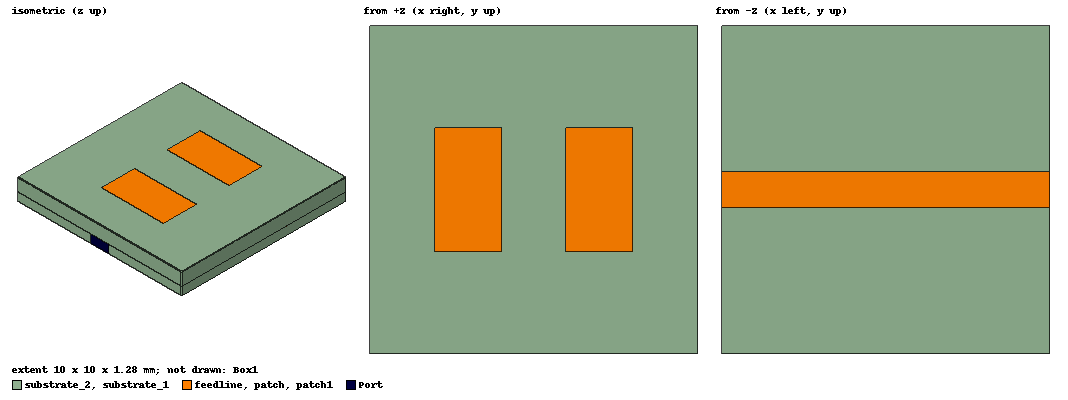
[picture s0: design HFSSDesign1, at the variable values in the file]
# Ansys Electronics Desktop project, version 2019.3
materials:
  vacuum: permittivity=1
  FR4_epoxy: permittivity=4.4 dielectric_loss_tangent=0.02
  Rogers RO4350 (tm): permittivity=3.66 dielectric_loss_tangent=0.004
  air: permittivity=1.0006 permeability=1.0000004

design HFSSDesign1 (HFSS, DrivenModal, model units mm)
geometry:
  feedline = rectangle(corner=(-5mm, (-1.103/2) mm, 0mm), x_size=10mm, y_size=1.103mm)
  substrate_1 [Rogers RO4350 (tm)] = box(corner=(-5mm, -5mm, 0mm), size=(10mm, 10mm, 0.5mm))
  middle_ground = rectangle(corner=(-5mm, -5mm, 0.5mm), x_size=10mm, y_size=10mm)
  substrate_2 [Rogers RO4350 (tm)] = box(corner=(-5mm, -5mm, 0.5mm), size=(10mm, 10mm, 0.78mm))
  patch = rectangle(corner=((-2.02/2-2) mm, (-3.78/2) mm, 1.28mm), x_size=2.02mm, y_size=3.78mm)
  slot = rectangle(corner=((-0.15-2) mm, (-2.4/2) mm, 0.5mm), x_size=0.3mm, y_size=2.4mm)
  middle_ground.subtract(slot)
  Box1 [air] = box(corner=(-10mm, -10mm, -3mm), size=(20mm, 20mm, 6mm))
  Port = rectangle(corner=(5mm, (-1.103/2) mm, 0.5mm), y_size=1.103mm, z_size=-0.5mm)
  patch1 = rectangle(corner=((-2.02/2+2) mm, (-3.78/2) mm, 1.28mm), x_size=2.02mm, y_size=3.78mm)
  slot1 = rectangle(corner=((-0.15+2) mm, (-2.4/2) mm, 0.5mm), x_size=0.3mm, y_size=2.4mm)
  middle_ground.subtract(slot1)
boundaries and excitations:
  Rad1: Radiation Objects=Box1
  PerfE1: Perfect E Objects=[feedline, middle_ground, patch]
  PerfE2: Perfect E Objects=patch1
  1: Lumped Port Objects=Port Modes{Mode1{IntLine{middle of Port.edge(z opposite corner) -> middle of Port.edge(z at corner)} CharImp=Zpi RenormImp=50ohm}} Impedance=50ohm
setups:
  Setup1: HfssDriven Frequency=26GHz MaxDeltaS=0.02 MaximumPasses=20 MinimumPasses=1 MinimumConvergedPasses=1 PercentRefinement=30 BasisOrder=1 PortAccuracy=2
    sweep Sweep: 18GHz to 45GHz step 0.065GHz; Type=Fast SaveFields
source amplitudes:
  1:1: 1W 0deg
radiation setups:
  Infinite Sphere1: Infinite Sphere Theta=0deg..180deg step 10deg Phi=0deg..360deg step 10deg
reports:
  S Parameter Plot 1: dB(S(1,1)) vs Freq on Setup1 : Sweep; markers m1 at 28.205GHz, m2 at 34.25GHz
  rE Plot 1: dB(rETotal) vs Phi, Theta on Setup1 : LastAdaptive, Infinite Sphere1 [Freq=26GHz]
  Gain Plot 1: dB(GainTotal) vs Phi, Theta on Setup1 : LastAdaptive, Infinite Sphere1 [Freq=26GHz]
